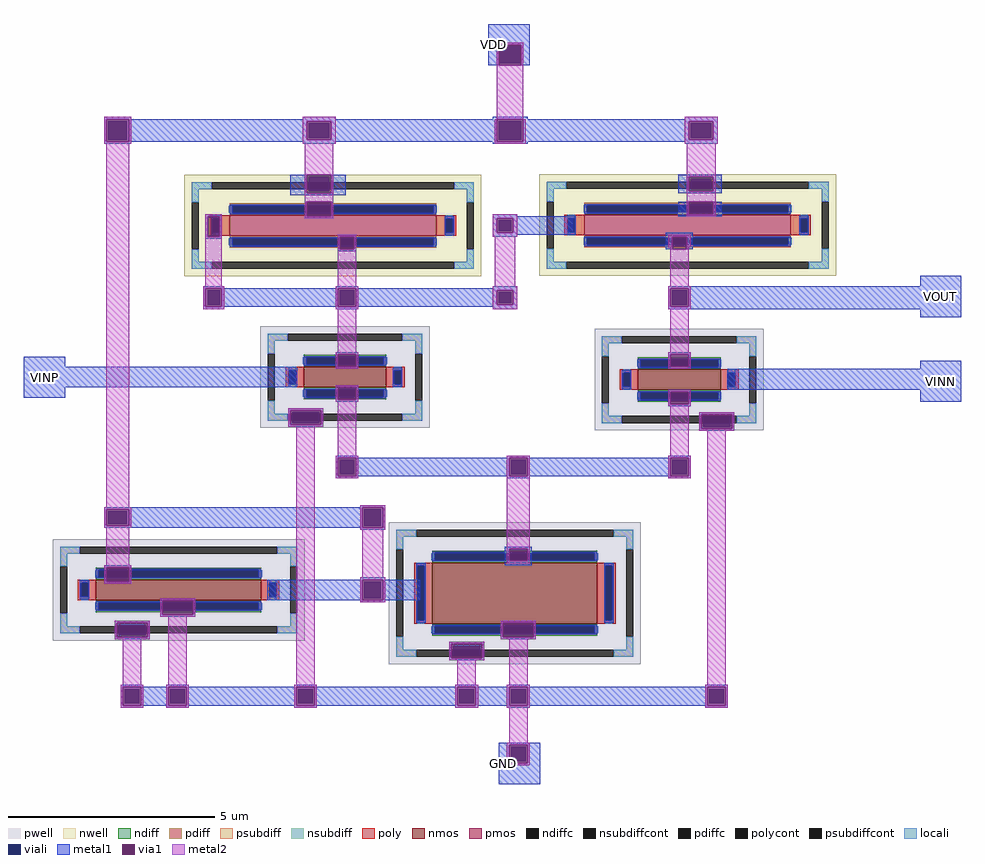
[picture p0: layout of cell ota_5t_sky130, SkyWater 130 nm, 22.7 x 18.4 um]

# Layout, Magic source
magic
tech sky130A
magscale 1 2
<< viali >>
rect 2030 130 2140 220
rect 140 -240 230 -150
rect 1110 -230 1210 -160
rect 2030 -240 2140 -150
rect 2960 -230 3060 -160
rect 1110 -490 1210 -420
rect 2960 -480 3060 -430
rect 2030 -680 2090 -630
rect 620 -1040 680 -970
rect 1260 -1040 1330 -970
rect 2030 -1030 2090 -980
rect 2870 -1040 2940 -970
rect 1030 -1610 1160 -1560
rect 3020 -1630 3150 -1580
rect 1260 -1860 1330 -1790
rect 2090 -1860 2160 -1790
rect 2870 -1860 2940 -1790
rect 140 -2100 230 -2040
rect 1380 -2110 1460 -2030
rect 1380 -2460 1460 -2380
rect 190 -2640 320 -2590
rect 1810 -2740 1940 -2690
rect 220 -2970 290 -2900
rect 440 -2970 510 -2900
rect 1060 -2970 1130 -2900
rect 1840 -2970 1910 -2900
rect 2090 -2970 2160 -2900
rect 3050 -2970 3120 -2900
rect 2090 -3250 2160 -3180
<< metal1 >>
rect 1980 220 2180 320
rect 1980 120 2030 220
rect 2140 120 2180 220
rect 120 -140 250 -130
rect 1080 -140 1240 -130
rect 2000 -140 2170 -130
rect 2930 -140 3090 -130
rect 120 -250 130 -140
rect 240 -150 2020 -140
rect 2150 -150 3090 -140
rect 240 -240 1100 -150
rect 1220 -240 2020 -150
rect 2150 -240 2950 -150
rect 3070 -240 3090 -150
rect 240 -250 2020 -240
rect 2150 -250 3090 -240
rect 120 -260 250 -250
rect 1080 -260 1240 -250
rect 2000 -260 2170 -250
rect 2930 -260 3090 -250
rect 1020 -500 1100 -410
rect 1220 -500 1290 -410
rect 2900 -420 3110 -410
rect 2900 -490 2950 -420
rect 3070 -490 3110 -420
rect 2900 -500 3110 -490
rect 1020 -510 1290 -500
rect 610 -610 690 -600
rect 610 -710 620 -610
rect 680 -710 690 -610
rect 1090 -610 1100 -540
rect 1220 -610 1230 -540
rect 2900 -600 2950 -540
rect 3070 -600 3110 -540
rect 1090 -620 1230 -610
rect 2000 -610 2120 -600
rect 2900 -610 3110 -600
rect 2000 -620 2390 -610
rect 2000 -690 2020 -620
rect 2100 -690 2390 -620
rect 2000 -700 2390 -690
rect 610 -720 690 -710
rect 1250 -710 1340 -700
rect 2000 -710 2120 -700
rect 2840 -710 2970 -690
rect 1250 -770 1260 -710
rect 1330 -770 1340 -710
rect 2840 -770 2870 -710
rect 2940 -770 2970 -710
rect 1250 -780 1340 -770
rect 4070 -950 4270 -900
rect 600 -960 700 -950
rect 1240 -960 1350 -950
rect 2000 -960 2120 -950
rect 600 -1050 610 -960
rect 690 -1050 1250 -960
rect 1340 -970 2120 -960
rect 1340 -1040 2020 -970
rect 2100 -1040 2120 -970
rect 1340 -1050 2120 -1040
rect 600 -1060 700 -1050
rect 1240 -1060 1350 -1050
rect 2000 -1060 2120 -1050
rect 2850 -960 4270 -950
rect 2850 -1050 2860 -960
rect 2950 -1050 4270 -960
rect 2850 -1060 4270 -1050
rect 4070 -1100 4270 -1060
rect 1240 -1280 1350 -1270
rect -270 -1340 -70 -1290
rect 1240 -1340 1250 -1280
rect 1340 -1340 1350 -1280
rect -270 -1440 1050 -1340
rect 1240 -1350 1350 -1340
rect 2850 -1280 2960 -1270
rect 2850 -1340 2860 -1280
rect 2950 -1340 2960 -1280
rect 2850 -1350 2960 -1340
rect 4070 -1350 4270 -1310
rect 1240 -1440 1350 -1430
rect -270 -1490 -70 -1440
rect 1240 -1500 1250 -1440
rect 1340 -1500 1350 -1440
rect 3140 -1450 4270 -1350
rect 1240 -1510 1350 -1500
rect 2850 -1460 2960 -1450
rect 2850 -1520 2860 -1460
rect 2950 -1520 2960 -1460
rect 4070 -1510 4270 -1450
rect 2850 -1530 2960 -1520
rect 1010 -1550 1180 -1540
rect 1010 -1620 1020 -1550
rect 1170 -1620 1180 -1550
rect 1010 -1630 1180 -1620
rect 3000 -1570 3170 -1560
rect 3000 -1640 3010 -1570
rect 3160 -1640 3170 -1570
rect 3000 -1650 3170 -1640
rect 1240 -1780 1350 -1770
rect 2070 -1780 2180 -1770
rect 2850 -1780 2960 -1770
rect 1240 -1870 1250 -1780
rect 1340 -1870 2080 -1780
rect 2170 -1870 2860 -1780
rect 2950 -1870 2960 -1780
rect 1240 -1880 1350 -1870
rect 2070 -1880 2180 -1870
rect 2850 -1880 2960 -1870
rect 1360 -2020 1480 -2010
rect 120 -2030 1370 -2020
rect 120 -2110 130 -2030
rect 240 -2110 1370 -2030
rect 120 -2120 1370 -2110
rect 1470 -2120 1480 -2020
rect 1360 -2130 1480 -2120
rect 2060 -2220 2190 -2210
rect 2060 -2280 2080 -2220
rect 2170 -2280 2190 -2220
rect 2060 -2300 2190 -2280
rect 120 -2310 250 -2300
rect 120 -2380 130 -2310
rect 240 -2380 250 -2310
rect 1360 -2370 1480 -2360
rect 120 -2390 250 -2380
rect 390 -2470 560 -2460
rect 910 -2470 1370 -2370
rect 1470 -2470 1650 -2370
rect 390 -2540 400 -2470
rect 550 -2540 560 -2470
rect 1360 -2480 1480 -2470
rect 390 -2550 560 -2540
rect 170 -2580 340 -2570
rect 170 -2650 180 -2580
rect 330 -2650 340 -2580
rect 170 -2660 340 -2650
rect 2040 -2580 2210 -2570
rect 2040 -2650 2050 -2580
rect 2200 -2650 2210 -2580
rect 2040 -2660 2210 -2650
rect 1790 -2680 1960 -2670
rect 1790 -2750 1800 -2680
rect 1950 -2750 1960 -2680
rect 1790 -2760 1960 -2750
rect 200 -2890 310 -2880
rect 420 -2890 530 -2880
rect 1040 -2890 1150 -2880
rect 1820 -2890 1930 -2880
rect 2070 -2890 2180 -2880
rect 3030 -2890 3140 -2880
rect 200 -2980 210 -2890
rect 300 -2980 430 -2890
rect 520 -2980 1050 -2890
rect 1140 -2980 1830 -2890
rect 1920 -2980 2080 -2890
rect 2170 -2980 3040 -2890
rect 3130 -2980 3140 -2890
rect 200 -2990 310 -2980
rect 420 -2990 530 -2980
rect 1040 -2990 1150 -2980
rect 1820 -2990 1930 -2980
rect 2070 -2990 2180 -2980
rect 3030 -2990 3140 -2980
rect 2030 -3170 2230 -3160
rect 2030 -3260 2080 -3170
rect 2170 -3260 2230 -3170
rect 2030 -3360 2230 -3260
<< via1 >>
rect 2030 130 2140 220
rect 2030 120 2140 130
rect 130 -150 240 -140
rect 2020 -150 2150 -140
rect 130 -240 140 -150
rect 140 -240 230 -150
rect 230 -240 240 -150
rect 1100 -160 1220 -150
rect 1100 -230 1110 -160
rect 1110 -230 1210 -160
rect 1210 -230 1220 -160
rect 1100 -240 1220 -230
rect 2020 -240 2030 -150
rect 2030 -240 2140 -150
rect 2140 -240 2150 -150
rect 2950 -160 3070 -150
rect 2950 -230 2960 -160
rect 2960 -230 3060 -160
rect 3060 -230 3070 -160
rect 2950 -240 3070 -230
rect 130 -250 240 -240
rect 2020 -250 2150 -240
rect 1100 -420 1220 -410
rect 1100 -490 1110 -420
rect 1110 -490 1210 -420
rect 1210 -490 1220 -420
rect 1100 -500 1220 -490
rect 2950 -430 3070 -420
rect 2950 -480 2960 -430
rect 2960 -480 3060 -430
rect 3060 -480 3070 -430
rect 2950 -490 3070 -480
rect 620 -710 680 -610
rect 1100 -610 1220 -540
rect 2950 -600 3070 -540
rect 2020 -630 2100 -620
rect 2020 -680 2030 -630
rect 2030 -680 2090 -630
rect 2090 -680 2100 -630
rect 2020 -690 2100 -680
rect 1260 -770 1330 -710
rect 2870 -770 2940 -710
rect 610 -970 690 -960
rect 610 -1040 620 -970
rect 620 -1040 680 -970
rect 680 -1040 690 -970
rect 610 -1050 690 -1040
rect 1250 -970 1340 -960
rect 1250 -1040 1260 -970
rect 1260 -1040 1330 -970
rect 1330 -1040 1340 -970
rect 2020 -980 2100 -970
rect 2020 -1030 2030 -980
rect 2030 -1030 2090 -980
rect 2090 -1030 2100 -980
rect 2020 -1040 2100 -1030
rect 1250 -1050 1340 -1040
rect 2860 -970 2950 -960
rect 2860 -1040 2870 -970
rect 2870 -1040 2940 -970
rect 2940 -1040 2950 -970
rect 2860 -1050 2950 -1040
rect 1250 -1340 1340 -1280
rect 2860 -1340 2950 -1280
rect 1250 -1500 1340 -1440
rect 2860 -1520 2950 -1460
rect 1020 -1560 1170 -1550
rect 1020 -1610 1030 -1560
rect 1030 -1610 1160 -1560
rect 1160 -1610 1170 -1560
rect 1020 -1620 1170 -1610
rect 3010 -1580 3160 -1570
rect 3010 -1630 3020 -1580
rect 3020 -1630 3150 -1580
rect 3150 -1630 3160 -1580
rect 3010 -1640 3160 -1630
rect 1250 -1790 1340 -1780
rect 1250 -1860 1260 -1790
rect 1260 -1860 1330 -1790
rect 1330 -1860 1340 -1790
rect 1250 -1870 1340 -1860
rect 2080 -1790 2170 -1780
rect 2080 -1860 2090 -1790
rect 2090 -1860 2160 -1790
rect 2160 -1860 2170 -1790
rect 2080 -1870 2170 -1860
rect 2860 -1790 2950 -1780
rect 2860 -1860 2870 -1790
rect 2870 -1860 2940 -1790
rect 2940 -1860 2950 -1790
rect 2860 -1870 2950 -1860
rect 1370 -2030 1470 -2020
rect 130 -2040 240 -2030
rect 130 -2100 140 -2040
rect 140 -2100 230 -2040
rect 230 -2100 240 -2040
rect 130 -2110 240 -2100
rect 1370 -2110 1380 -2030
rect 1380 -2110 1460 -2030
rect 1460 -2110 1470 -2030
rect 1370 -2120 1470 -2110
rect 2080 -2280 2170 -2220
rect 130 -2380 240 -2310
rect 1370 -2380 1470 -2370
rect 1370 -2460 1380 -2380
rect 1380 -2460 1460 -2380
rect 1460 -2460 1470 -2380
rect 1370 -2470 1470 -2460
rect 400 -2540 550 -2470
rect 180 -2590 330 -2580
rect 180 -2640 190 -2590
rect 190 -2640 320 -2590
rect 320 -2640 330 -2590
rect 180 -2650 330 -2640
rect 2050 -2650 2200 -2580
rect 1800 -2690 1950 -2680
rect 1800 -2740 1810 -2690
rect 1810 -2740 1940 -2690
rect 1940 -2740 1950 -2690
rect 1800 -2750 1950 -2740
rect 210 -2900 300 -2890
rect 210 -2970 220 -2900
rect 220 -2970 290 -2900
rect 290 -2970 300 -2900
rect 210 -2980 300 -2970
rect 430 -2900 520 -2890
rect 430 -2970 440 -2900
rect 440 -2970 510 -2900
rect 510 -2970 520 -2900
rect 430 -2980 520 -2970
rect 1050 -2900 1140 -2890
rect 1050 -2970 1060 -2900
rect 1060 -2970 1130 -2900
rect 1130 -2970 1140 -2900
rect 1050 -2980 1140 -2970
rect 1830 -2900 1920 -2890
rect 1830 -2970 1840 -2900
rect 1840 -2970 1910 -2900
rect 1910 -2970 1920 -2900
rect 1830 -2980 1920 -2970
rect 2080 -2900 2170 -2890
rect 2080 -2970 2090 -2900
rect 2090 -2970 2160 -2900
rect 2160 -2970 2170 -2900
rect 2080 -2980 2170 -2970
rect 3040 -2900 3130 -2890
rect 3040 -2970 3050 -2900
rect 3050 -2970 3120 -2900
rect 3120 -2970 3130 -2900
rect 3040 -2980 3130 -2970
rect 2080 -3180 2170 -3170
rect 2080 -3250 2090 -3180
rect 2090 -3250 2160 -3180
rect 2160 -3250 2170 -3180
rect 2080 -3260 2170 -3250
<< metal2 >>
rect 2020 220 2150 230
rect 2020 120 2030 220
rect 2140 120 2150 220
rect 120 -140 250 -130
rect 120 -250 130 -140
rect 240 -250 250 -140
rect 120 -260 250 -250
rect 1080 -150 1240 -130
rect 2020 -140 2150 120
rect 1080 -240 1100 -150
rect 1220 -240 1240 -150
rect 1080 -260 1240 -240
rect 2010 -250 2020 -140
rect 2150 -250 2160 -140
rect 2010 -260 2160 -250
rect 2930 -150 3090 -130
rect 2930 -240 2950 -150
rect 3070 -240 3090 -150
rect 2930 -260 3090 -240
rect 130 -2020 240 -260
rect 1090 -410 1230 -260
rect 1090 -500 1100 -410
rect 1220 -500 1230 -410
rect 1090 -540 1230 -500
rect 610 -610 690 -600
rect 610 -710 620 -610
rect 680 -710 690 -610
rect 1090 -610 1100 -540
rect 1220 -610 1230 -540
rect 2940 -420 3080 -260
rect 2940 -490 2950 -420
rect 3070 -490 3080 -420
rect 2940 -540 3080 -490
rect 2940 -600 2950 -540
rect 3070 -600 3080 -540
rect 1090 -620 1230 -610
rect 2000 -620 2120 -600
rect 2940 -610 3080 -600
rect 2000 -690 2020 -620
rect 2100 -690 2120 -620
rect 610 -950 690 -710
rect 1250 -710 1340 -700
rect 2000 -710 2120 -690
rect 2850 -710 2960 -700
rect 1250 -770 1260 -710
rect 1330 -770 1340 -710
rect 1250 -950 1340 -770
rect 2010 -950 2110 -710
rect 2850 -760 2870 -710
rect 2860 -770 2870 -760
rect 2940 -760 2960 -710
rect 2940 -770 2950 -760
rect 2860 -950 2950 -770
rect 600 -960 700 -950
rect 600 -1050 610 -960
rect 690 -1050 700 -960
rect 600 -1060 700 -1050
rect 1240 -960 1350 -950
rect 1240 -1050 1250 -960
rect 1340 -1050 1350 -960
rect 1240 -1060 1350 -1050
rect 2000 -970 2120 -950
rect 2000 -1040 2020 -970
rect 2100 -1040 2120 -970
rect 2000 -1060 2120 -1040
rect 2850 -960 2960 -950
rect 2850 -1050 2860 -960
rect 2950 -1050 2960 -960
rect 2850 -1060 2960 -1050
rect 1250 -1270 1340 -1060
rect 2860 -1270 2950 -1060
rect 1240 -1280 1350 -1270
rect 1240 -1340 1250 -1280
rect 1340 -1340 1350 -1280
rect 1240 -1350 1350 -1340
rect 2850 -1280 2960 -1270
rect 2850 -1340 2860 -1280
rect 2950 -1340 2960 -1280
rect 2850 -1350 2960 -1340
rect 1240 -1440 1350 -1430
rect 1240 -1500 1250 -1440
rect 1340 -1500 1350 -1440
rect 1240 -1510 1350 -1500
rect 2850 -1460 2960 -1450
rect 1010 -1550 1180 -1540
rect 1010 -1620 1020 -1550
rect 1170 -1620 1180 -1550
rect 1010 -1630 1180 -1620
rect 120 -2030 250 -2020
rect 120 -2110 130 -2030
rect 240 -2110 250 -2030
rect 120 -2120 250 -2110
rect 130 -2300 240 -2120
rect 120 -2310 250 -2300
rect 120 -2380 130 -2310
rect 240 -2380 250 -2310
rect 120 -2390 250 -2380
rect 390 -2470 560 -2460
rect 390 -2540 400 -2470
rect 550 -2540 560 -2470
rect 390 -2550 560 -2540
rect 170 -2580 340 -2570
rect 170 -2650 180 -2580
rect 330 -2650 340 -2580
rect 170 -2660 340 -2650
rect 210 -2880 300 -2660
rect 430 -2880 520 -2550
rect 1050 -2880 1140 -1630
rect 1250 -1770 1340 -1510
rect 2850 -1520 2860 -1460
rect 2950 -1520 2960 -1460
rect 2850 -1530 2960 -1520
rect 2860 -1770 2950 -1530
rect 3000 -1570 3170 -1560
rect 3000 -1640 3010 -1570
rect 3160 -1640 3170 -1570
rect 3000 -1650 3170 -1640
rect 1240 -1780 1350 -1770
rect 1240 -1870 1250 -1780
rect 1340 -1870 1350 -1780
rect 1240 -1880 1350 -1870
rect 2070 -1780 2180 -1770
rect 2070 -1870 2080 -1780
rect 2170 -1870 2180 -1780
rect 1360 -2020 1480 -2010
rect 1360 -2120 1370 -2020
rect 1470 -2120 1480 -2020
rect 1360 -2130 1480 -2120
rect 1370 -2360 1470 -2130
rect 2070 -2220 2180 -1870
rect 2850 -1780 2960 -1770
rect 2850 -1870 2860 -1780
rect 2950 -1870 2960 -1780
rect 2850 -1880 2960 -1870
rect 2070 -2280 2080 -2220
rect 2170 -2280 2180 -2220
rect 2070 -2290 2180 -2280
rect 1360 -2370 1480 -2360
rect 1360 -2470 1370 -2370
rect 1470 -2470 1480 -2370
rect 1360 -2480 1480 -2470
rect 2040 -2580 2210 -2570
rect 2040 -2650 2050 -2580
rect 2200 -2650 2210 -2580
rect 2040 -2660 2210 -2650
rect 1790 -2680 1960 -2670
rect 1790 -2750 1800 -2680
rect 1950 -2750 1960 -2680
rect 1790 -2760 1960 -2750
rect 1830 -2880 1920 -2760
rect 2080 -2880 2170 -2660
rect 3040 -2880 3130 -1650
rect 200 -2890 310 -2880
rect 200 -2980 210 -2890
rect 300 -2980 310 -2890
rect 200 -2990 310 -2980
rect 420 -2890 530 -2880
rect 420 -2980 430 -2890
rect 520 -2980 530 -2890
rect 420 -2990 530 -2980
rect 1040 -2890 1150 -2880
rect 1040 -2980 1050 -2890
rect 1140 -2980 1150 -2890
rect 1040 -2990 1150 -2980
rect 1820 -2890 1930 -2880
rect 1820 -2980 1830 -2890
rect 1920 -2980 1930 -2890
rect 1820 -2990 1930 -2980
rect 2070 -2890 2180 -2880
rect 2070 -2980 2080 -2890
rect 2170 -2980 2180 -2890
rect 2070 -2990 2180 -2980
rect 3030 -2890 3140 -2880
rect 3030 -2980 3040 -2890
rect 3130 -2980 3140 -2890
rect 3030 -2990 3140 -2980
rect 2080 -3160 2170 -2990
rect 2070 -3170 2180 -3160
rect 2070 -3260 2080 -3170
rect 2170 -3260 2180 -3170
rect 2070 -3270 2180 -3260
use sky130_fd_pr__nfet_01v8_8LGPJ7  XM1
transform 0 -1 1286 1 0 -1390
box -246 -410 246 410
use sky130_fd_pr__nfet_01v8_8LGPJ7  XM2
transform 0 -1 2904 1 0 -1402
box -246 -410 246 410
use sky130_fd_pr__pfet_01v8_NMZPXD  XM3
transform 0 -1 1227 1 0 -656
box -246 -719 246 719
use sky130_fd_pr__pfet_01v8_NMZPXD  XM4
transform 0 -1 2945 1 0 -654
box -246 -719 246 719
use sky130_fd_pr__nfet_01v8_6CY75A  XM5
transform 0 -1 2108 1 0 -2436
box -344 -610 344 610
use sky130_fd_pr__nfet_01v8_EAQ5W9  XM6
transform 0 -1 480 1 0 -2420
box -246 -610 246 610
<< labels >>
flabel metal1 4070 -1510 4270 -1310 0 FreeSans 256 0 0 0 VINN
port 3 nsew
flabel metal1 2030 -3360 2080 -3160 0 FreeSans 256 0 0 0 GND
port 4 nsew
flabel metal1 1980 120 2030 320 0 FreeSans 256 0 0 0 VDD
port 0 nsew
flabel metal1 4070 -1100 4270 -900 0 FreeSans 256 0 0 0 VOUT
port 1 nsew
flabel metal1 -270 -1490 -70 -1290 0 FreeSans 256 0 0 0 VINP
port 2 nsew
<< end >>

# cell sky130_fd_pr__nfet_01v8_8LGPJ7: kit device sky130_fd_pr__nfet_01v8, w 2.0 l 0.5 m 1 nf 1 diffcov 100 polycov 100 guard 1 glc 1 grc 1 gtc 1 gbc 1 tbcov 100 rlcov 100 topc 1 botc 1 poverlap 0 doverlap 1 lmin 0.15 wmin 0.42 class mosfet compatible {sky130_fd_pr__nfet_01v8 sky130_fd_pr__nfet_01v8_lvt sky130_fd_bs_flash__special_sonosfet_star sky130_fd_pr__nfet_g5v0d10v5 sky130_fd_pr__nfet_05v0_nvt sky130_fd_pr__nfet_03v3_nvt} full_metal 1 conn_gates 0 viasrc 100 viadrn 100 viagate 100 viagb 0 viagr 0 viagl 0 viagt 0 doports 1

# cell sky130_fd_pr__pfet_01v8_NMZPXD: kit device sky130_fd_pr__pfet_01v8, w 5.0 l 0.5 m 1 nf 1 diffcov 100 polycov 100 guard 1 glc 1 grc 1 gtc 1 gbc 1 tbcov 100 rlcov 100 topc 1 botc 1 poverlap 0 doverlap 1 lmin 0.15 wmin 0.42 class mosfet compatible {sky130_fd_pr__pfet_01v8 sky130_fd_pr__pfet_01v8_lvt sky130_fd_pr__pfet_01v8_hvt sky130_fd_pr__pfet_g5v0d10v5} full_metal 1 conn_gates 0 viasrc 100 viadrn 100 viagate 100 viagb 0 viagr 0 viagl 0 viagt 0 doports 1

# cell sky130_fd_pr__nfet_01v8_6CY75A: kit device sky130_fd_pr__nfet_01v8, w 4.0 l 1.475 m 1 nf 1 diffcov 100 polycov 100 guard 1 glc 1 grc 1 gtc 1 gbc 1 tbcov 100 rlcov 100 topc 1 botc 1 poverlap 0 doverlap 1 lmin 0.15 wmin 0.42 class mosfet compatible {sky130_fd_pr__nfet_01v8 sky130_fd_pr__nfet_01v8_lvt sky130_fd_bs_flash__special_sonosfet_star sky130_fd_pr__nfet_g5v0d10v5 sky130_fd_pr__nfet_05v0_nvt sky130_fd_pr__nfet_03v3_nvt} full_metal 1 conn_gates 0 viasrc 100 viadrn 100 viagate 100 viagb 0 viagr 0 viagl 0 viagt 0 doports 1

# cell sky130_fd_pr__nfet_01v8_EAQ5W9: kit device sky130_fd_pr__nfet_01v8, w 4.0 l 0.5 m 1 nf 1 diffcov 100 polycov 100 guard 1 glc 1 grc 1 gtc 1 gbc 1 tbcov 100 rlcov 100 topc 1 botc 1 poverlap 0 doverlap 1 lmin 0.15 wmin 0.42 class mosfet compatible {sky130_fd_pr__nfet_01v8 sky130_fd_pr__nfet_01v8_lvt sky130_fd_bs_flash__special_sonosfet_star sky130_fd_pr__nfet_g5v0d10v5 sky130_fd_pr__nfet_05v0_nvt sky130_fd_pr__nfet_03v3_nvt} full_metal 1 conn_gates 0 viasrc 100 viadrn 100 viagate 100 viagb 0 viagr 0 viagl 0 viagt 0 doports 1
